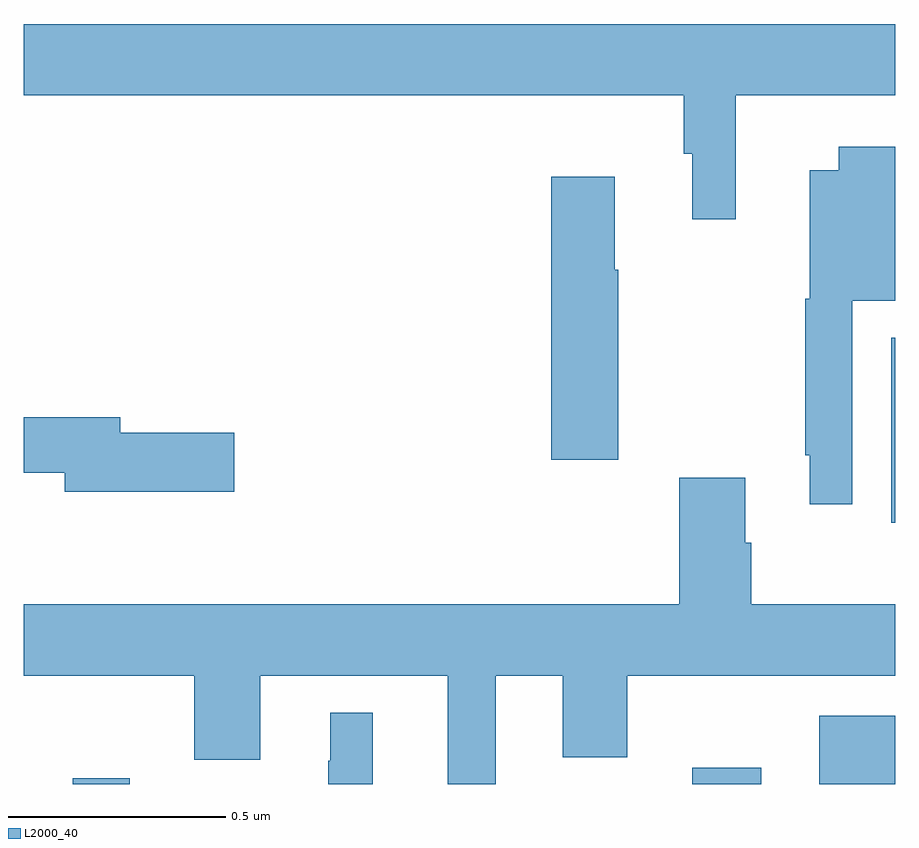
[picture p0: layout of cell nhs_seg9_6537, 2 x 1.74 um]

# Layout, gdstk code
import gdstk
lib = gdstk.Library(unit=1e-6, precision=1e-09)
def R(c, l, rs):  # rectangles x0, y0, x1, y1
    for r in rs: c.add(gdstk.rectangle(r[:2], r[2:], *l))
def P(c, l, *ps):  # polygons
    for p in ps: c.add(gdstk.Polygon(p, *l))
L2000_40 = (2000, 40)

nhs_seg9_6537 = lib.new_cell('nhs_seg9_6537')
R(nhs_seg9_6537, L2000_40, [(193.112,1201.5,193.243,1201.513), (194.534,1201.5,194.692,1201.537), (194.825,1201.5,195,1201.657), (194.991,1202.1,195,1202.524)])
P(nhs_seg9_6537, L2000_40, [(194.634,1203.08),(195,1203.08),(195,1203.244),(193,1203.244),(193,1203.08),(194.515,1203.08),(194.515,1202.946),(194.534,1202.946),(194.534,1202.796),(194.634,1202.796)],
  [(194.901,1202.609),(195,1202.609),(195,1202.962),(194.87,1202.962),(194.87,1202.908),(194.804,1202.908),(194.804,1202.613),(194.793,1202.613),(194.793,1202.254),(194.804,1202.254),(194.804,1202.142),(194.901,1202.142)],
  [(194.364,1202.68),(194.356,1202.68),(194.356,1202.893),(194.21,1202.893),(194.21,1202.244),(194.364,1202.244)],
  [(193.483,1202.306),(193.222,1202.306),(193.222,1202.342),(193,1202.342),(193,1202.214),(193.094,1202.214),(193.094,1202.171),(193.483,1202.171)],
  [(194.083,1201.748),(194.237,1201.748),(194.237,1201.561),(194.385,1201.561),(194.385,1201.748),(195,1201.748),(195,1201.912),(194.669,1201.912),(194.669,1202.054),(194.656,1202.054),(194.656,1202.203),(194.504,1202.203),(194.504,1201.912),(193,1201.912),(193,1201.748),(193.391,1201.748),(193.391,1201.556),(193.543,1201.556),(193.543,1201.748),(193.973,1201.748),(193.973,1201.5),(194.083,1201.5)],
  [(193.801,1201.663),(193.703,1201.663),(193.703,1201.553),(193.699,1201.553),(193.699,1201.5),(193.801,1201.5)])

lib.write_gds('nhs_seg9_6537.gds')
